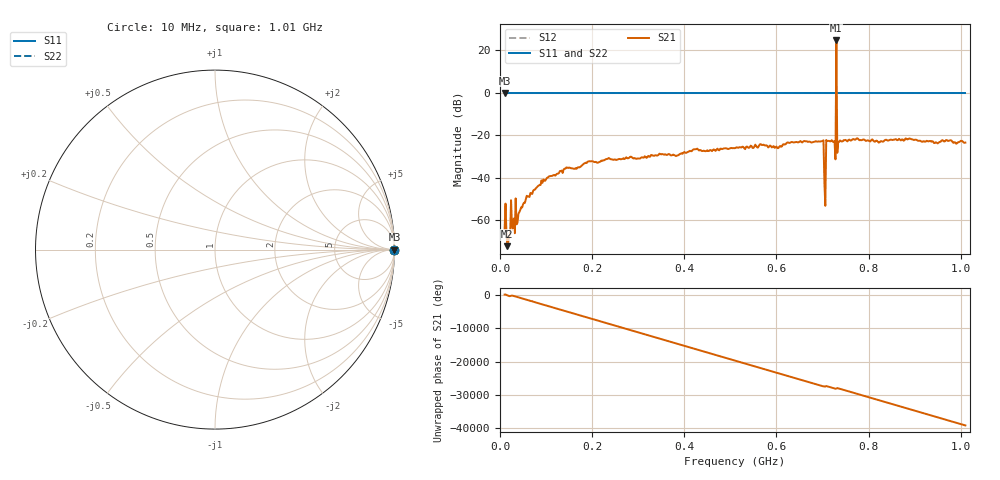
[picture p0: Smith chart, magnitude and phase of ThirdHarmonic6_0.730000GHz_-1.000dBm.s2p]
! 8/16/2025 12:25:45 AM
! C:\ANRITSUVNA\TEMP\TEMP.S2P
! CHANNEL.1
! TR.MEASUREMENT
! RAW.DATA
! RF.CORRECTION.OFF
! AVERAGING.OFF
! IF.BANDWIDTH: 5KHZ
! SWEEPTYPE:  FREQ.SWEEP(Linear)
! Reference Plane Port Info
! PORT:  PORT1  PORT2
! DISTANCE:  0  m  0  m
! TIME:  0  s  0  s
! PHASE.OFFSET:  0  deg.  0  deg.
! LOSS:  0  dB  0  dB
! REF.LOSS:  0  dB  0  dB
! REF.FREQ:  0  Hz  0  Hz
! Power Info
! POWER:  -20  dBm  -20  dBm
! EFF.POWER:  -20  dBm  -20  dBm
! SOURCE.ATTEN:  0  dB  0  dB
! TEST.ATTEN:  0  dB  0  dB
# GHZ S RI R 50.0
! FREQ.GHZ  S11RE  S11IM  S21RE  S21IM  S12RE  S12IM  S22RE  S22IM
!; PortSelection: Port_12
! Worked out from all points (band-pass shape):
!   501 points, 10 MHz to 1.01 GHz, reference 50 ohm
!   highest |S21| = 24.66 dB at 730 MHz (marker M1); lowest = -72.2 dB at 16 MHz (marker M2)
!   |S21| within 3 dB of the highest: 729.8928 MHz to 730.1134 MHz (220.6 kHz wide, 0.0302 % of centre)
!   lowest |S11| = 0.0 dB at 10 MHz (marker M3)
!   |S11| at or under -10 dB: nowhere
!   |S22| runs from 0.0 to 0.0 dB; largest |S21 - S12| = 16
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0.01  1 0  -0.000457 0.000405  1 0  1 0
0.016  1 0  -5.44e-05 -0.00024  1 0  1 0
0.018  1 0  -0.000255 0.000188  1 0  1 0
0.026  1 0  -0.000566 -0.000478  1 0  1 0
0.04  1 0  0.00116 0.000819  1 0  1 0
0.062  1 0  -0.00314 -0.00183  1 0  1 0
0.094  1 0  0.00902 -0.00147  1 0  1 0
0.178  1 0  -0.0195 -0.00193  1 0  1 0
0.344  1 0  0.03 -0.0173  1 0  1 0
0.51  1 0  -0.0298 0.0399  1 0  1 0
0.678  1 0  -0.0664 -0.0167  1 0  1 0
0.698  1 0  -0.0192 0.0701  1 0  1 0
0.702  1 0  0.043 -0.0627  1 0  1 0
0.708  1 0  0.0398 0.0668  1 0  1 0
0.712  1 0  -0.0157 -0.0719  1 0  1 0
0.724  1 0  -0.0507 0.0478  1 0  1 0
0.726  1 0  0.0355 0.0641  1 0  1 0
0.73  1 0  14.69 8.761  1 0  1 0
0.734  1 0  0.00652 0.0698  1 0  1 0
0.736  1 0  0.0695 0.0108  1 0  1 0
0.844  1 0  0.0671 -0.0362  1 0  1 0
1.01  1 0  -0.0178 0.0649  1 0  1 0
